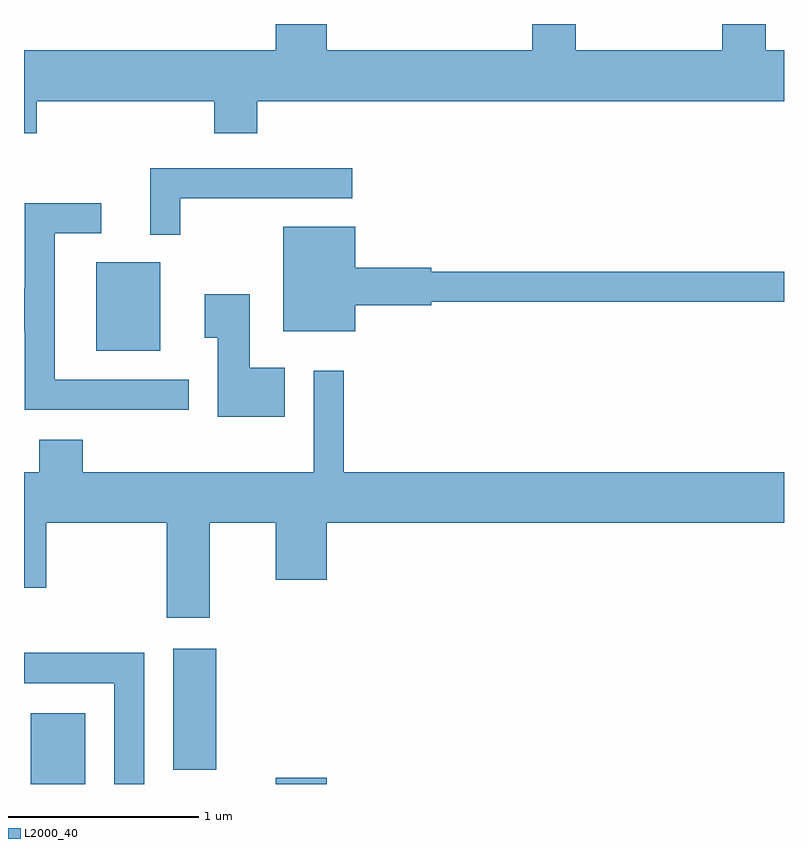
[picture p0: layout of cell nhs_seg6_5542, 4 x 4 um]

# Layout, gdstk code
import gdstk
lib = gdstk.Library(unit=1e-6, precision=1e-09)
def R(c, l, rs):  # rectangles x0, y0, x1, y1
    for r in rs: c.add(gdstk.rectangle(r[:2], r[2:], *l))
def P(c, l, *ps):  # polygons
    for p in ps: c.add(gdstk.Polygon(p, *l))
L2000_40 = (2000, 40)

nhs_seg6_5542 = lib.new_cell('nhs_seg6_5542')
R(nhs_seg6_5542, L2000_40, [(353.646,1604.162,353.934,1604.534), (354.936,1604.162,355.204,1604.194), (354.396,1604.236,354.624,1604.874), (353.991,1606.441,354.329,1606.909)])
P(nhs_seg6_5542, L2000_40, [(353.679,1607.756),(354.611,1607.756),(354.611,1607.586),(354.839,1607.586),(354.839,1607.756),(357.611,1607.756),(357.611,1608.024),(357.514,1608.024),(357.514,1608.162),(357.286,1608.162),(357.286,1608.024),(356.514,1608.024),(356.514,1608.162),(356.286,1608.162),(356.286,1608.024),(355.204,1608.024),(355.204,1608.162),(354.936,1608.162),(354.936,1608.024),(353.611,1608.024),(353.611,1607.586),(353.679,1607.586)],
  [(354.434,1607.246),(355.338,1607.246),(355.338,1607.404),(354.276,1607.404),(354.276,1607.053),(354.434,1607.053)],
  [(354.478,1606.289),(353.774,1606.289),(353.774,1607.061),(354.018,1607.061),(354.018,1607.219),(353.616,1607.219),(353.616,1606.774),(353.611,1606.774),(353.611,1606.546),(353.616,1606.546),(353.616,1606.131),(354.478,1606.131)],
  [(355.354,1606.681),(355.754,1606.681),(355.754,1606.701),(357.611,1606.701),(357.611,1606.859),(355.754,1606.859),(355.754,1606.879),(355.354,1606.879),(355.354,1607.094),(354.976,1607.094),(354.976,1606.546),(355.354,1606.546)],
  [(354.984,1606.354),(354.799,1606.354),(354.799,1606.739),(354.561,1606.739),(354.561,1606.511),(354.631,1606.511),(354.631,1606.096),(354.984,1606.096)],
  [(354.589,1605.536),(354.936,1605.536),(354.936,1605.236),(355.204,1605.236),(355.204,1605.536),(357.611,1605.536),(357.611,1605.804),(355.294,1605.804),(355.294,1606.338),(355.136,1606.338),(355.136,1605.804),(353.919,1605.804),(353.919,1605.974),(353.691,1605.974),(353.691,1605.804),(353.611,1605.804),(353.611,1605.196),(353.729,1605.196),(353.729,1605.536),(354.361,1605.536),(354.361,1605.036),(354.589,1605.036)],
  [(354.244,1604.854),(353.611,1604.854),(353.611,1604.691),(354.086,1604.691),(354.086,1604.162),(354.244,1604.162)])

lib.write_gds('nhs_seg6_5542.gds')
